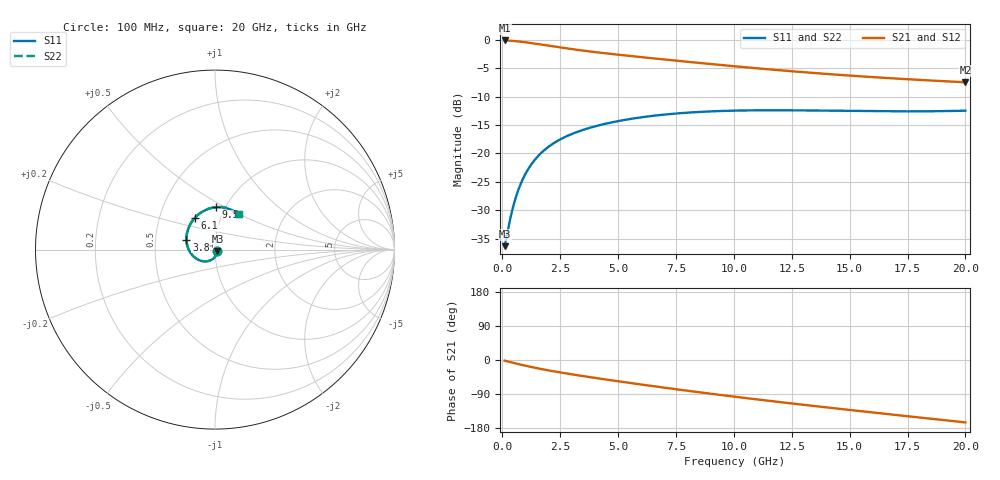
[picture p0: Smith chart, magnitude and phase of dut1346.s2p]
! Touchstone file exported from HFSS 2024.1.0
!  File:  C:/UserFiles/LocalFiles/RDL_TSV_Batchsim/temp_RDL_TSV_1346_1780392986.aedt
!  Generated:  05:51:39 PM Jun  2, 2026
!  Design:  RDL_TSV
!  Project:  temp_RDL_TSV_1346_1780392986
!  Setup:  Setup1
!  Solution:  Sweep
! Variables:
!  dtsv = 12.82um
!  hbump = 3um
!  htsv = 90.78um
!  ldown = 190.54um
!  lrdl = 343.05um
!  p = 40
!  p1 = 40.24um
!  rhole = 10um
!  subl = 1943.82um
!  t = 450um
!  tdown = 2.79um
!  trdl = 2.15um
!  viad = 10um
!  wdown = 24.1um
!  wrdl = 22.6um
!  xbump = 18um
# GHz S MA R 50.000000
! Terminal data exported
! Port[1] = TM1_1_T1
! Port[2] = TM1_4_T1
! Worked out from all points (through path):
!   200 points, 100 MHz to 20 GHz, reference 50 ohm
!   highest |S21| = -0.13 dB at 100 MHz (marker M1); lowest = -7.5 dB at 20 GHz (marker M2)
!   group delay of S21, straight-line fit = 21.6 ps
!   lowest |S11| = -36.3 dB at 100 MHz (marker M3), VSWR 1.03, Z = 51.4 - j0.736 ohm
!   |S11| at or under -10 dB: start of sweep to end of sweep
!   |S22| runs from -36.3 to -12.4 dB; largest |S21 - S12| = 1.4e-14
!   S11 on the Smith chart (normalised r, x): 100 MHz: 1.03, -0.01; 3.8 GHz: 0.72, +0.08; 6.1 GHz: 0.75, +0.28; 9.5 GHz: 0.91, +0.45; 20 GHz: 1.19, +0.50
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0.1  0.01525 -28.0  0.9856 -1.6  0.9856 -1.6  0.01525 -28.0
! Gamma 0 0 0 0
! Port Impedance 50 0 50 0
0.4  0.02982 -75.2  0.9785 -6.3  0.9785 -6.3  0.02981 -75.2
0.6  0.042 -91.3  0.9706 -9.3  0.9706 -9.3  0.04199 -91.3
0.9  0.06017 -109.0  0.9555 -13.7  0.9555 -13.7  0.06016 -109.1
1.2  0.0771 -123.2  0.9376 -17.8  0.9376 -17.8  0.07711 -123.2
1.6  0.09717 -139.2  0.9116 -22.8  0.9116 -22.8  0.0972 -139.3
2.1  0.1184 -156.2  0.879 -28.6  0.879 -28.6  0.1184 -156.3
2.7  0.1391 -173.6  0.8429 -34.9  0.8429 -34.9  0.1393 -173.7
3.5  0.1613 167.1  0.8015 -42.6  0.8015 -42.6  0.1616 166.9
3.8  0.1684 160.7  0.7877 -45.4  0.7877 -45.4  0.1688 160.6
4.9  0.1905 140.4  0.7425 -55.2  0.7425 -55.2  0.1911 140.3
6.1  0.209 122.7  0.6997 -65.6  0.6997 -65.6  0.2098 122.5
6.8  0.2174 113.9  0.6767 -71.4  0.6767 -71.4  0.2184 113.8
8.1  0.2289 100.2  0.6369 -82.0  0.6369 -82.0  0.2301 100.0
9.5  0.2362 88.3  0.5979 -92.8  0.5979 -92.8  0.2375 88.2
10.1  0.2379 84.0  0.5824 -97.4  0.5824 -97.4  0.2393 83.9
11.7  0.2396 74.6  0.5449 -109.0  0.5449 -109.0  0.2411 74.5
13.4  0.2383 67.4  0.5108 -121.0  0.5108 -121.0  0.24 67.3
15  0.2361 62.7  0.4837 -131.8  0.4837 -131.8  0.2378 62.6
16.7  0.2344 59.5  0.4593 -143.1  0.4593 -143.1  0.2361 59.4
18.3  0.2346 57.8  0.4399 -153.6  0.4399 -153.6  0.2362 57.6
20  0.2375 56.8  0.4224 -164.7  0.4224 -164.7  0.2391 56.7
